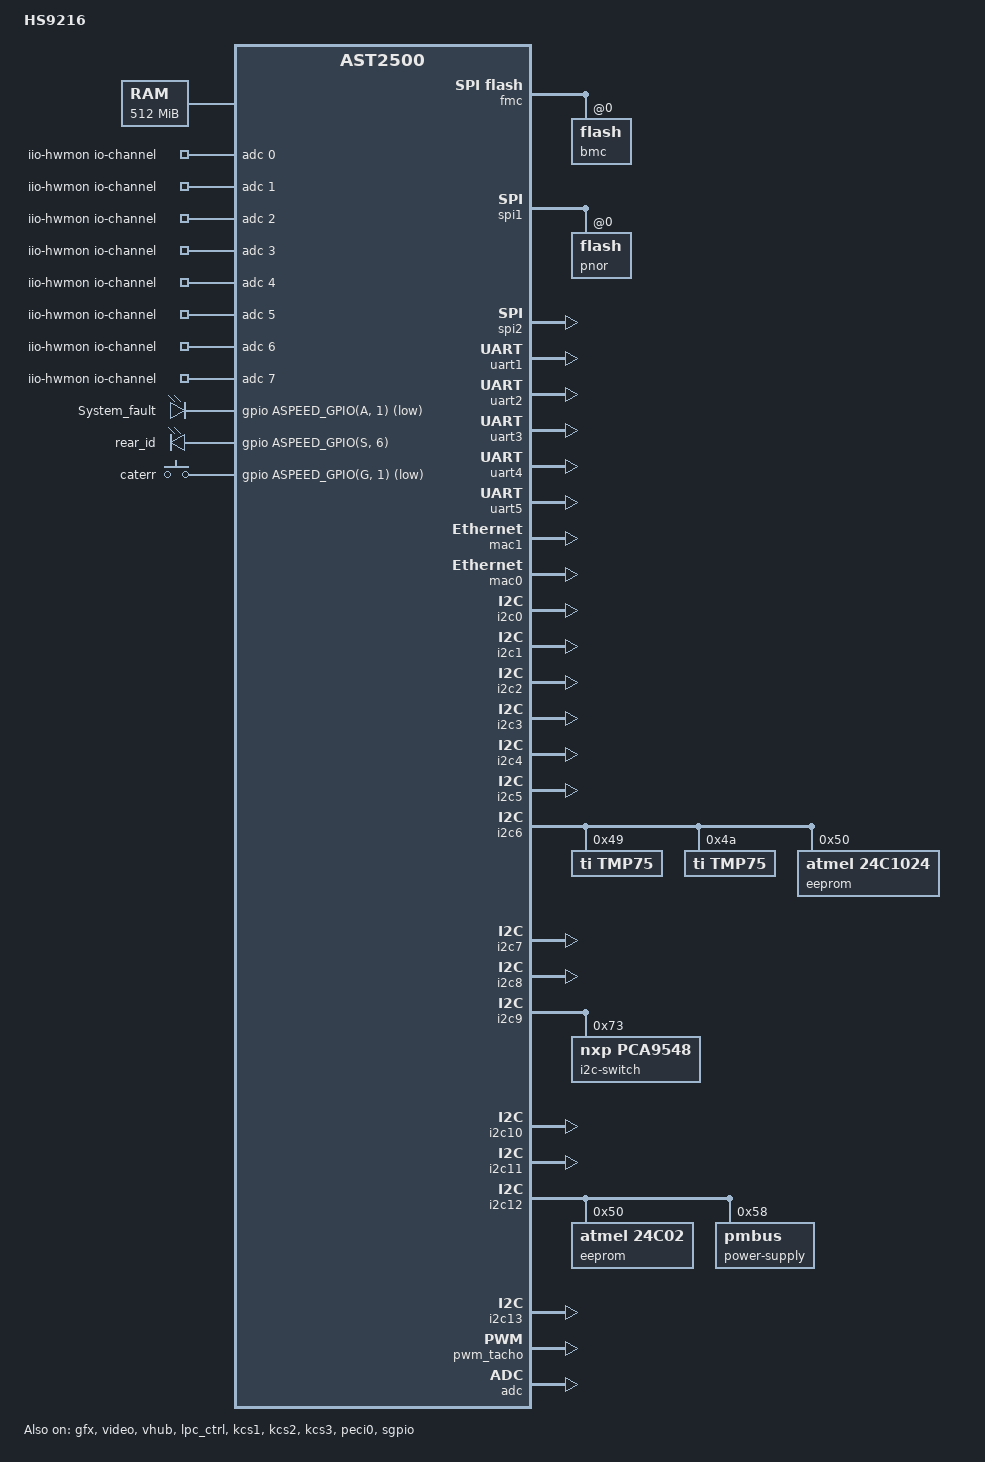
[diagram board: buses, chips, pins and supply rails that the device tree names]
// SPDX-License-Identifier: GPL-2.0
/dts-v1/;

#include "aspeed-g5.dtsi"
#include <dt-bindings/gpio/aspeed-gpio.h>

/ {
	model = "HS9216";
	compatible = "aspeed,ast2500";

	aliases {
		serial4 = &uart5;
	};

	chosen {
		stdout-path = &uart5;
		bootargs = "console=tty0 console=ttyS4,115200 earlyprintk";
	};

	memory@80000000 {
		device_type = "memory";
		reg = <0x80000000 0x20000000>;
	};

	reserved-memory {
		#address-cells = <1>;
		#size-cells = <1>;
		ranges;

               vga_memory: framebuffer@9f000000 {
                       no-map;
                       reg = <0x9f000000 0x01000000>; /* 16M */
               };

               flash_memory: region@98000000 {
                       no-map;
                       reg = <0x98000000 0x02000000>; /* 32M */
               };
		gfx_memory: framebuffer {
			size = <0x01000000>;
			alignment = <0x01000000>;
			compatible = "shared-dma-pool";
			reusable;
		};
               video_engine_memory: jpegbuffer {
                       size = <0x02000000>;    /* 32M */
                       alignment = <0x01000000>;
                       compatible = "shared-dma-pool";
                       reusable;
               };
	};

       vga-shared-memory {
               compatible = "aspeed,ast2500-vga-sharedmem";
               reg = <0x9ff00000 0x100000>;
       };
	iio-hwmon {
		compatible = "iio-hwmon";
		io-channels = <&adc 0>, <&adc 1>, <&adc 2>, <&adc 3>,
			<&adc 4>, <&adc 5>, <&adc 6>, <&adc 7>,
			<&adc 8>, <&adc 9>, <&adc 10>, <&adc 11>, <&adc 12>,
			<&adc 13>, <&adc 14>, <&adc 15>;
	};

	leds {
		compatible = "gpio-leds";

		system_fault {
			label = "System_fault";
			gpios = <&gpio ASPEED_GPIO(A, 1) GPIO_ACTIVE_LOW>;
		};
		EnclosureIdentify {
			label = "rear_id";
			gpios = <&gpio ASPEED_GPIO(S, 6) GPIO_ACTIVE_HIGH>;
		};
	};
        gpio-keys {
                    compatible = "gpio-keys";
                    caterr {
                                  label = "caterr";
                                  gpios = <&gpio ASPEED_GPIO(G, 1) GPIO_ACTIVE_LOW>;
                                  linux,code = <ASPEED_GPIO(G, 1)>;
                     };
        };
};

&fmc {
	status = "okay";
	flash@0 {
		status = "okay";
		m25p,fast-read;
		label = "bmc";
#include "openbmc-flash-layout.dtsi"
	};
};

&spi1 {
	status = "okay";
	flash@0 {
		status = "okay";
		m25p,fast-read;
		label = "pnor";
	};
};

&spi2 {
	status = "okay";
};

&uart1 {
	status = "okay";
};

&uart2 {
	status = "okay";
};

&uart3 {
	status = "okay";
};

&uart4 {
	status = "okay";
};

&uart5 {
	status = "okay";
};

&mac1 {


        status = "okay";
        pinctrl-names = "default";
        pinctrl-0 = <&pinctrl_rmii1_default>;
        use-ncsi;
};

&mac0 {


	status = "okay";

	pinctrl-names = "default";
	pinctrl-0 = <&pinctrl_rgmii2_default &pinctrl_mdio2_default>;
};

&i2c0 {
	status = "okay";
};

&i2c1 {
	status = "okay";
};

&i2c2 {
	status = "okay";
};

&i2c3 {
	status = "okay";
};

&i2c4 {
	status = "okay";
};

&i2c5 {
	status = "okay";
};

&i2c6 {
	status = "okay";
	bus-frequency = <400000>;

	tmp75@49 {
		compatible = "ti,tmp75";
		reg = <0x49>;
	};

	tmp75@4a {
		compatible = "ti,tmp75";
		reg = <0x4a>;
	};

	eeprom@50 {
		compatible = "atmel,24c1024";
		reg = <0x50>;
		};	

};

&i2c7 {
	status = "okay";
};

&i2c8 {
	status = "okay";
};

&i2c9 {
	status = "okay";

	i2c-switch@73 {
		compatible = "nxp,pca9548";
		#address-cells = <1>;
		#size-cells = <0>;
		reg = <0x73>;
		i2c-mux-idle-disconnect;  /* may use mux@73 next. */

		i2c_exp0: i2c@0 {
			#address-cells = <1>;
			#size-cells = <0>;
			reg = <0>;
		};

		i2c_exp1: i2c@1 {
			#address-cells = <1>;
			#size-cells = <0>;
			reg = <1>;
		};

		i2c_exp2: i2c@2 {
			#address-cells = <1>;
			#size-cells = <0>;
			reg = <2>;
		};

		i2c_exp3: i2c@3 {
			#address-cells = <1>;
			#size-cells = <0>;
			reg = <3>;
		};

		i2c_exp4: i2c@4 {
			#address-cells = <1>;
			#size-cells = <0>;
			reg = <4>;
		};

		i2c_exp5: i2c@5 {
			#address-cells = <1>;
			#size-cells = <0>;
			reg = <5>;
		};

		i2c_exp6: i2c@6 {
			#address-cells = <1>;
			#size-cells = <0>;
			reg = <6>;
		};

		i2c_exp7: i2c@7 {
			#address-cells = <1>;
			#size-cells = <0>;
			reg = <7>;
		};
	};
};

&i2c10 {
	status = "okay";
};

&i2c11 {
	status = "okay";	
};


&i2c12 {
	status = "okay";
        eeprom@50 {
                compatible = "atmel,24c02";
                reg = <0x50>;
        };
	power-supply@58 {
                compatible = "pmbus";
                reg = <0x58>;
        };
};

&i2c13 {
	status = "okay";
};


&gfx {
     status = "okay";
     memory-region = <&gfx_memory>;
};

&pwm_tacho {
	status = "okay";
	pinctrl-names = "default";
	pinctrl-0 = <&pinctrl_pwm0_default &pinctrl_pwm1_default
			 &pinctrl_pwm2_default &pinctrl_pwm3_default
			 &pinctrl_pwm4_default &pinctrl_pwm5_default
			 &pinctrl_pwm6_default &pinctrl_pwm7_default>;
	fan@0 {
		reg = <0x00>;
		aspeed,fan-tach-ch = /bits/ 8 <0x00>;
	};
	
	fan@1 {
                reg = <0x00>;
                aspeed,fan-tach-ch = /bits/ 8 <0x01>;
        };

	fan@2 {
                reg = <0x01>;
                aspeed,fan-tach-ch = /bits/ 8 <0x02>;
        };

	fan@3 {
                reg = <0x02>;
                aspeed,fan-tach-ch = /bits/ 8 <0x03>;
        };
	
	fan@4 {
                reg = <0x03>;
                aspeed,fan-tach-ch = /bits/ 8 <0x04>;
        };

	fan@5 {
                reg = <0x04>;
                aspeed,fan-tach-ch = /bits/ 8 <0x05>;
        };

	fan@6 {
                reg = <0x05>;
                aspeed,fan-tach-ch = /bits/ 8 <0x06>;
        };

	fan@7 {
                reg = <0x06>;
                aspeed,fan-tach-ch = /bits/ 8 <0x07>;
        };

	fan@8 {
                reg = <0x07>;
                aspeed,fan-tach-ch = /bits/ 8 <0x08>;
        };

	fan@9 {
                reg = <0x07>;
                aspeed,fan-tach-ch = /bits/ 8 <0x09>;
        };



};

&adc {
	
	status = "okay";

};

&gfx {
       status = "okay";
       memory-region = <&gfx_memory>;
};

&video {
       status = "okay";
       memory-region = <&gfx_memory>;
};

&vhub {
       status = "okay";
};

&lpc_ctrl {
    status = "okay";
    memory-region = <&flash_memory>;
    flash = <&spi1>;
};

&kcs1 {
        // BMC KCS channel 1
        status = "okay";
        kcs_addr = <0xca0>;
};

&kcs2 {
        // BMC KCS channel 2
        status = "okay";
        kcs_addr = <0xca8>;
};

&kcs3 {
        // BMC KCS channel 3
        status = "okay";
        kcs_addr = <0xca2>;
};

&peci0 {
   status = "okay";
};

&gpio {
       status = "okay";
       gpio-line-names =
       "","","","","","","","",  /*A0-A7*/
       "","","","","","","","",  /*B0-B7*/
       "","","","","","","","",  /*C0-C7*/
       "","","","","","","","",  /*D0-D7*/
       "","","","","","","","",  /*E0-E7*/
       "","","","","","","","",  /*F0-F7*/
       "","","","","FM_BAT_MON","","","",  /*G0-G7*/
       "","","","","","","","",  /*H0-H7*/
       "","","","","","","","",  /*I0-I7*/
       "","","","","","","","",  /*J0-J7*/
       "","","","","","","","",  /*K0-K7*/
       "","","","","","","","",  /*L0-L7*/
       "","","","","","","","",  /*M0-M7*/
       "","","","","","","","",  /*N0-N7*/
       "","","","","","","","",  /*O0-O7*/
       "","","","","","","","",  /*P0-P7*/
       "","","","","","","","",  /*Q0-Q7*/
       "","","","","","","","",  /*R0-R7*/
       "","","","","","","","",  /*S0-S7*/
       "","","","","","","","",  /*T0-T7*/
       "","","","","","","","",  /*U0-U7*/
       "","","","","","","","",  /*V0-V7*/
       "","","","","","","","",  /*W0-W7*/
       "","","","","","","","",  /*X0-X7*/
       "","","","","","","","",  /*Y0-Y7*/
       "","","","","","","","",  /*Z0-Z7*/
       "","","","","","","","",  /*AA0-AA7*/
       "","","","","","","","",  /*AB0-AB7*/
       "","","","","","","","";  /*AC0-AC7*/
};

&sgpio {
        status = "okay";
        gpio-line-names =
      	/* SGPIO output lines */
	/*OA0-OA7*/	"","","","","","","","",
        /*OB0-OB7*/	"","","","","","","","",
	/*OC0-OC7*/	"","","","","","","","",
	/*OD0-OD7*/	"","","","","","","","",
	/*OE0-OE7*/	"","","","","","","","",
        /*OF0-OF7*/     "","","","","","","","",
        /*OG0-OG7*/     "","","","","","","","",
        /*OH0-OH7*/     "","","","","","","","",
        /*OI0-OI7*/     "","","","","","","","",
        /*OJ0-OJ7*/     "","","","","","","","",
        /*DUMMY*/       "","","","","","","","",
        /*DUMMY*/       "","","","","","","","",

        /* SGPIO input lines */
        /*IA0-IA7*/     "CPU0_MEMORY_THERMALTRIP_N","CPU0_THERMALTRIP_N","","","","","","CPU0_PRESENCE",
        /*IB0-IB7*/     "","","","","","","","",
        /*IC0-IC7*/     "CPU1_MEMORY_THERMALTRIP_N","CPU1_THERMALTRIP_N","","","","","","CPU1_PRESENCE",
        /*ID0-ID7*/     "","","","","","","","",
        /*IE0-IE7*/     "","","","","","","","",
        /*IF0-IF7*/     "","","","","","","","",
        /*IG0-IG7*/     "","","","","","","SYS_PWROK","",
        /*IH0-IH7*/     "","CPLD_VERSION_DECIMAL_BIT0","CPLD_VERSION_DECIMAL_BIT1","CPLD_VERSION_DECIMAL_BIT2","CPLD_VERSION_DECIMAL_BIT3","","","",
        /*II0-II7*/     "","","","","","","","",
        /*IJ0-IJ7*/     "","","","","","","","";
};
